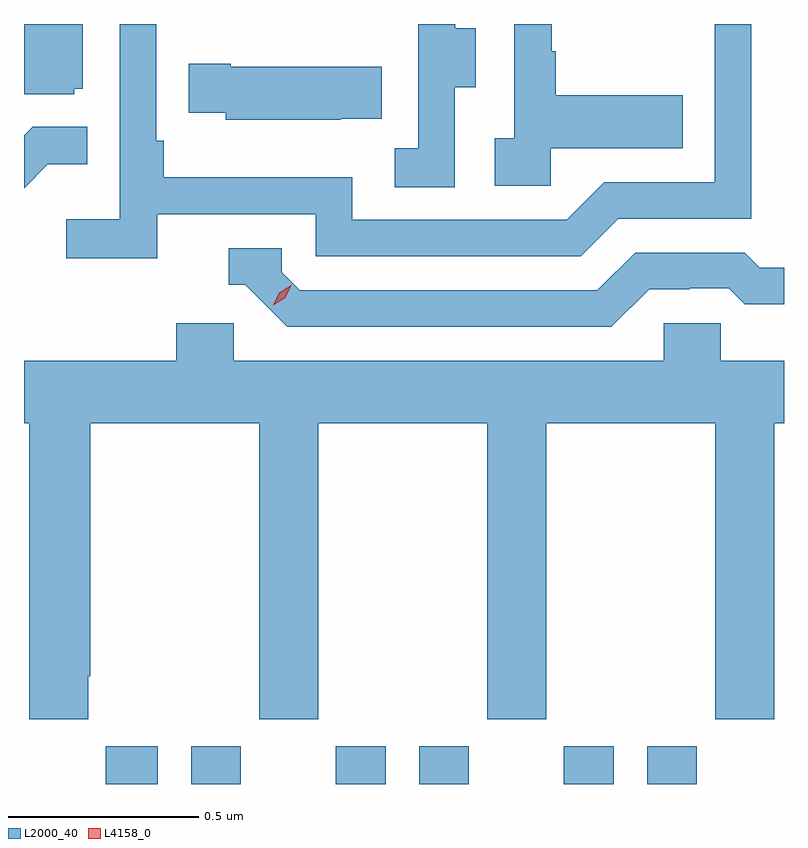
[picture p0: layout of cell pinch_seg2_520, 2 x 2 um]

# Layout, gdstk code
import gdstk
lib = gdstk.Library(unit=1e-6, precision=1e-09)
def R(c, l, rs):  # rectangles x0, y0, x1, y1
    for r in rs: c.add(gdstk.rectangle(r[:2], r[2:], *l))
def P(c, l, *ps):  # polygons
    for p in ps: c.add(gdstk.Polygon(p, *l))
L2000_40 = (2000, 40)
L4158_0 = (4158, 0)

pinch_seg2_520 = lib.new_cell('pinch_seg2_520')
R(pinch_seg2_520, L2000_40, [(993.179,598.734,993.316,598.834), (993.404,598.734,993.535,598.834), (993.785,598.734,993.916,598.834), (994.004,598.734,994.135,598.834), (994.385,598.734,994.516,598.834), (994.604,598.734,994.735,598.834)])
P(pinch_seg2_520, L2000_40, [(993.096,600.564),(993.118,600.564),(993.118,600.734),(992.964,600.734),(992.964,600.549),(993.096,600.549)],
  [(994.35,600.407),(994.697,600.407),(994.697,600.547),(994.363,600.547),(994.363,600.662),(994.353,600.662),(994.353,600.734),(994.254,600.734),(994.254,600.434),(994.203,600.434),(994.203,600.309),(994.35,600.309)],
  [(994.098,600.568),(994.153,600.568),(994.153,600.723),(994.099,600.723),(994.099,600.734),(994.001,600.734),(994.001,600.711),(994.002,600.711),(994.002,600.407),(993.939,600.407),(993.939,600.304),(994.098,600.304)],
  [(993.314,600.234),(993.732,600.234),(993.732,600.123),(994.429,600.123),(994.528,600.222),(994.878,600.222),(994.878,600.734),(994.782,600.734),(994.782,600.318),(994.491,600.318),(994.392,600.219),(993.828,600.219),(993.828,600.331),(993.332,600.331),(993.332,600.427),(993.312,600.427),(993.312,600.734),(993.216,600.734),(993.216,600.22),(993.075,600.22),(993.075,600.118),(993.314,600.118)],
  [(993.797,600.485),(993.905,600.485),(993.905,600.622),(993.508,600.622),(993.508,600.63),(993.397,600.63),(993.397,600.5),(993.495,600.5),(993.495,600.482),(993.797,600.482)],
  [(993.027,600.365),(993.131,600.365),(993.131,600.464),(992.987,600.464),(992.964,600.441),(992.964,600.302)],
  [(994.609,600.036),(994.716,600.036),(994.716,600.039),(994.819,600.039),(994.861,599.997),(994.964,599.997),(994.964,600.093),(994.9,600.093),(994.861,600.132),(994.572,600.132),(994.473,600.033),(993.69,600.033),(993.642,600.081),(993.642,600.144),(993.503,600.144),(993.503,600.048),(993.546,600.048),(993.657,599.937),(994.51,599.937)],
  [(993.133,599.017),(993.138,599.017),(993.138,599.684),(993.583,599.684),(993.583,598.905),(993.738,598.905),(993.738,599.684),(994.183,599.684),(994.183,598.905),(994.338,598.905),(994.338,599.684),(994.783,599.684),(994.783,598.905),(994.938,598.905),(994.938,599.684),(994.964,599.684),(994.964,599.848),(994.797,599.848),(994.797,599.946),(994.647,599.946),(994.647,599.848),(993.516,599.848),(993.516,599.946),(993.365,599.946),(993.365,599.848),(992.964,599.848),(992.964,599.684),(992.978,599.684),(992.978,598.905),(993.133,598.905)])
P(pinch_seg2_520, L4158_0, [(993.62,599.994),(993.62,599.994),(993.636,600.027),(993.667,600.046),(993.667,600.046),(993.667,600.046),(993.651,600.013),(993.62,599.994)])

lib.write_gds('pinch_seg2_520.gds')
